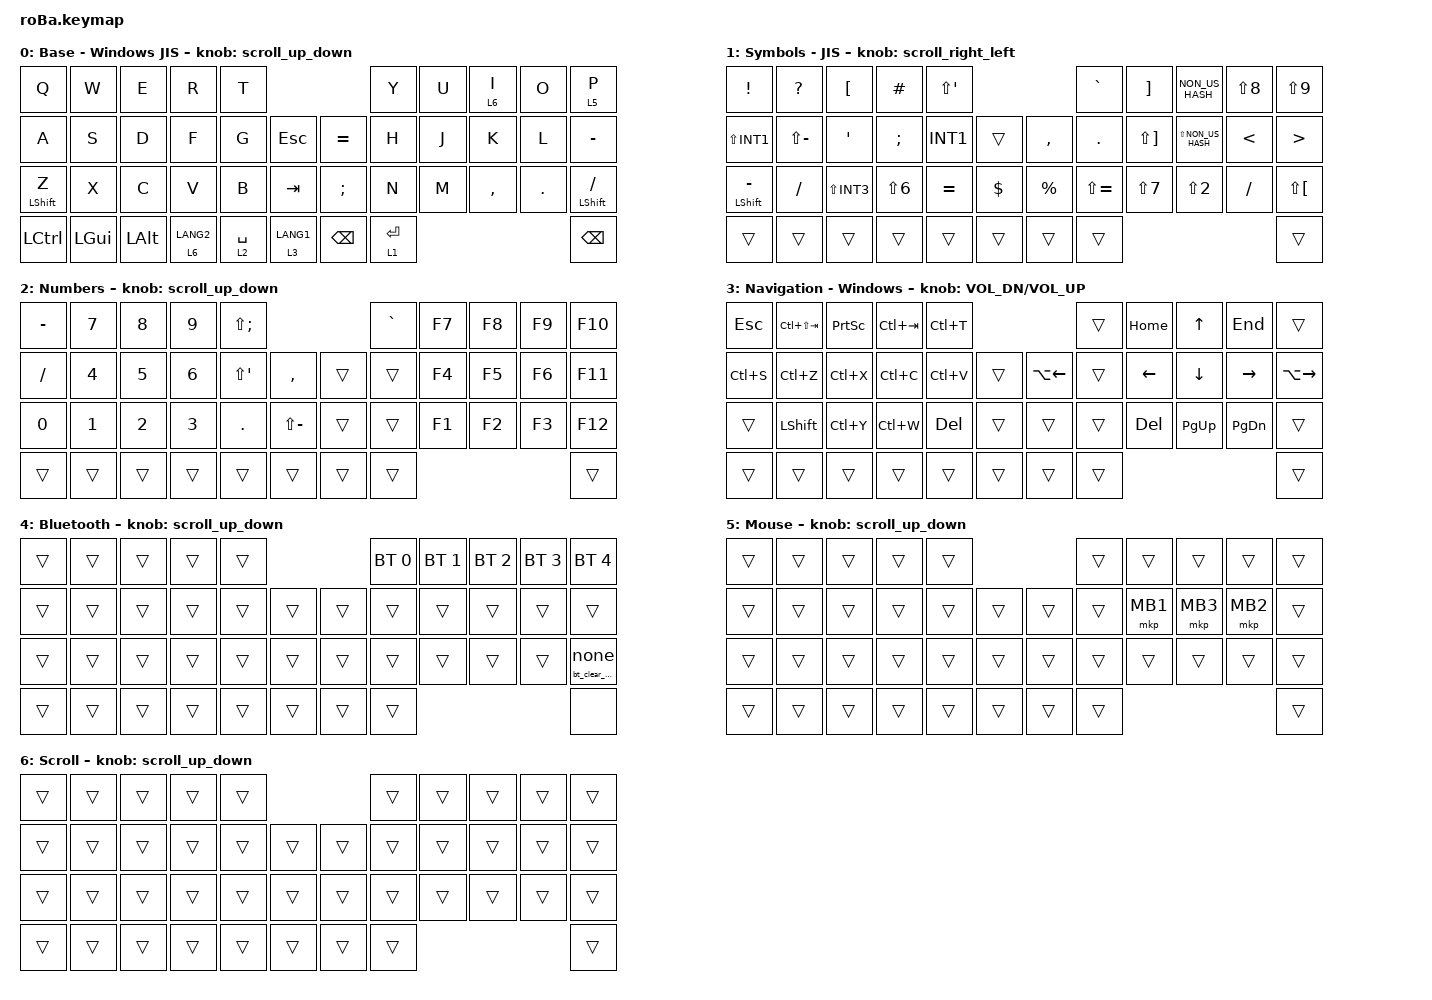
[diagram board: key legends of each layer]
#include <input/processors.dtsi>
#include <dt-bindings/zmk/input_transform.h>
#include <zephyr/dt-bindings/input/input-event-codes.h>
#include <behaviors.dtsi>
#include <dt-bindings/zmk/bt.h>
#include <dt-bindings/zmk/keys.h>
#include <dt-bindings/zmk/pointing.h>

#define ZMK_POINTING_DEFAULT_SCRL_VAL 100
#define MOUSE 5
#define SCROLL 6

// HID positions for a Windows Japanese (106/109) host layout.

#define JIS_AT LEFT_BRACKET
#define JIS_LBKT RIGHT_BRACKET
#define JIS_RBKT NON_US_HASH
#define JIS_LBRC LS(JIS_LBKT)
#define JIS_RBRC LS(JIS_RBKT)
#define JIS_LPAR LS(N8)
#define JIS_RPAR LS(N9)
#define JIS_COLON SQT
#define JIS_ASTERISK LS(JIS_COLON)
#define JIS_PLUS LS(SEMICOLON)
#define JIS_EQUAL LS(MINUS)
#define JIS_AMPERSAND LS(N6)
#define JIS_APOSTROPHE LS(N7)
#define JIS_DQUOTE LS(N2)
#define JIS_CARET EQUAL
#define JIS_GRAVE LS(JIS_AT)
#define JIS_TILDE LS(JIS_CARET)
#define JIS_BACKSLASH INT1
#define JIS_UNDERSCORE LS(JIS_BACKSLASH)
#define JIS_PIPE LS(INT3)

&mt {
    flavor = "balanced";
    quick-tap-ms = <0>;
};

&lt {
    tapping-term-ms = <200>;
    quick-tap-ms = <300>;
    flavor = "balanced";
};

&trackball {
    scroll-layers = <6>;

    // arrows {
    //     layers = <3>;
    //     bindings =
    //         <&kp RIGHT_ARROW>,
    //         <&kp LEFT_ARROW>,
    //         <&kp UP_ARROW>,
    //         <&kp DOWN_ARROW>;
    //     tick = <10>;
    //     wait-ms = <5>;
    //     tap-ms = <5>;
    // };
};

&zip_temp_layer {
    excluded-positions = <
        18 // J
        19 // K
        20 // L
        34 // Ctrl-click
        35 // GUI modifier
        36 // Alt modifier
    >;
};

/ {
    combos {
        compatible = "zmk,combos";

        tab {
            bindings = <&kp TAB>;
            key-positions = <11 12>;
            layers = <0>;
        };

        layer4_ESC {
            bindings = <&lt 4 ESC>;
            key-positions = <40 39>;
        };
    };

    macros {
        to_layer_0: to_layer_0 {
            compatible = "zmk,behavior-macro-one-param";
            #binding-cells = <1>;
            bindings = <&to 0 &macro_param_1to1 &kp MACRO_PLACEHOLDER>;
            label = "TO_LAYER_0";
        };

        bt_clear_current: bt_clear_current {
            compatible = "zmk,behavior-macro";
            #binding-cells = <0>;
            bindings = <&bt BT_CLR>;
            label = "BT_CLEAR_CURRENT";
        };
    };

    behaviors {
        scroll_lt: scroll_layer_tap {
            compatible = "zmk,behavior-hold-tap";
            #binding-cells = <2>;
            bindings = <&mo>, <&kp>;

            tapping-term-ms = <200>;
            quick-tap-ms = <0>;
            flavor = "tap-preferred";
            label = "SCROLL_LAYER_TAP";
        };

        bt_clear_hold: bt_clear_hold {
            compatible = "zmk,behavior-hold-tap";
            #binding-cells = <2>;
            bindings = <&bt_clear_current>, <&none>;

            tapping-term-ms = <1000>;
            quick-tap-ms = <0>;
            flavor = "tap-preferred";
            label = "BT_CLEAR_HOLD";
        };

        lt_to_layer_0: lt_to_layer_0 {
            compatible = "zmk,behavior-hold-tap";
            label = "LAYER_TAP_TO_0";
            bindings = <&mo>, <&to_layer_0>;

            #binding-cells = <2>;
            tapping-term-ms = <200>;
        };

        scroll_up_down: mouse_wheel_up_down {
            compatible = "zmk,behavior-sensor-rotate";
            #sensor-binding-cells = <0>;
            bindings = <&msc SCRL_DOWN>, <&msc SCRL_UP>;

            tap-ms = <20>;
        };

        scroll_right_left: mouse_wheel_right_left {
            compatible = "zmk,behavior-sensor-rotate";
            #sensor-binding-cells = <0>;
            bindings = <&msc SCRL_LEFT>, <&msc SCRL_RIGHT>;

            tap-ms = <20>;
        };
    };

    keymap {
        compatible = "zmk,keymap";

        default_layer {
            display-name = "Base - Windows JIS";
            bindings = <
&kp Q             &kp W         &kp E         &kp R        &kp T                                        &kp Y        &kp U  &scroll_lt 6 I  &kp O    &lt 5 P
&kp A             &kp S         &kp D         &kp F        &kp G        &kp ESC          &kp EQUAL      &kp H        &kp J  &kp K           &kp L    &kp MINUS
&mt LEFT_SHIFT Z  &kp X         &kp C         &kp V        &kp B        &kp TAB          &kp SEMICOLON  &kp N        &kp M  &kp COMMA       &kp DOT  &mt LEFT_SHIFT SLASH
&kp LCTRL         &kp LEFT_GUI  &kp LEFT_ALT  &lt 6 LANG2  &lt 2 SPACE  &lt 3 LANG1      &kp BACKSPACE  &lt 1 ENTER                                  &kp BACKSPACE
            >;

            sensor-bindings = <&scroll_up_down>;
        };

        layer_1 {
            display-name = "Symbols - JIS";
            bindings = <
&kp EXCLAMATION       &kp QUESTION   &kp JIS_AT     &kp HASH       &kp LS(SQT)                                     &kp GRAVE      &kp JIS_LBKT           &kp JIS_RBKT         &kp LS(N8)     &kp LS(N9)
&kp LS(INT1)          &kp LS(MINUS)  &kp JIS_COLON  &kp SEMICOLON  &kp JIS_BACKSLASH  &trans          &kp COMMA    &kp DOT        &kp LS(RIGHT_BRACKET)  &kp LS(NON_US_HASH)  &kp LESS_THAN  &kp GREATER_THAN
&mt LEFT_SHIFT MINUS  &kp SLASH      &kp LS(INT3)   &kp LS(N6)     &kp JIS_CARET      &kp DOLLAR      &kp PERCENT  &kp LS(EQUAL)  &kp LS(N7)             &kp LS(N2)           &kp SLASH      &kp LS(LEFT_BRACKET)
&trans                &trans         &trans         &trans         &trans             &trans          &trans       &trans                                                                    &trans
            >;

            sensor-bindings = <&scroll_right_left>;
        };

        layer_2 {
            display-name = "Numbers";
            bindings = <
&kp MINUS     &kp NUMBER_7  &kp NUMBER_8  &kp NUMBER_9  &kp LS(SEMICOLON)                             &kp GRAVE  &kp F7  &kp F8  &kp F9  &kp F10
&kp SLASH     &kp NUMBER_4  &kp NUMBER_5  &kp NUMBER_6  &kp LS(SQT)        &kp COMMA          &trans  &trans     &kp F4  &kp F5  &kp F6  &kp F11
&kp NUMBER_0  &kp NUMBER_1  &kp NUMBER_2  &kp NUMBER_3  &kp PERIOD         &kp LS(MINUS)      &trans  &trans     &kp F1  &kp F2  &kp F3  &kp F12
&trans        &trans        &trans        &trans        &trans             &trans             &trans  &trans                             &trans
            >;

            sensor-bindings = <&scroll_up_down>;
        };

        layer_3 {
            display-name = "Navigation - Windows";
            bindings = <
&kp ESC    &kp LC(LS(TAB))  &kp PRINTSCREEN  &kp LC(TAB)  &kp LC(T)                                   &trans  &kp HOME        &kp UP_ARROW    &kp END          &trans
&kp LC(S)  &kp LC(Z)        &kp LC(X)        &kp LC(C)    &kp LC(V)   &trans      &kp LA(LEFT_ARROW)  &trans  &kp LEFT_ARROW  &kp DOWN_ARROW  &kp RIGHT_ARROW  &kp LA(RIGHT_ARROW)
&trans     &kp LEFT_SHIFT   &kp LC(Y)        &kp LC(W)    &kp DELETE  &trans      &trans              &trans  &kp DELETE      &kp PAGE_UP     &kp PAGE_DOWN    &trans
&trans     &trans           &trans           &trans       &trans      &trans      &trans              &trans                                                   &trans
            >;

            sensor-bindings = <&inc_dec_kp C_VOL_DN C_VOL_UP>;
        };

        layer_4 {
            display-name = "Bluetooth";
            bindings = <
&trans  &trans  &trans  &trans  &trans                      &bt BT_SEL 0  &bt BT_SEL 1  &bt BT_SEL 2  &bt BT_SEL 3  &bt BT_SEL 4
&trans  &trans  &trans  &trans  &trans  &trans      &trans  &trans        &trans        &trans        &trans        &trans
&trans  &trans  &trans  &trans  &trans  &trans      &trans  &trans        &trans        &trans        &trans        &bt_clear_hold 0 0
&trans  &trans  &trans  &trans  &trans  &trans      &trans  &trans                                                  &none
            >;

            sensor-bindings = <&scroll_up_down>;
        };

        MOUSE {
            display-name = "Mouse";
            bindings = <
&trans  &trans  &trans  &trans  &trans                      &trans  &trans    &trans    &trans    &trans
&trans  &trans  &trans  &trans  &trans  &trans      &trans  &trans  &mkp MB1  &mkp MB3  &mkp MB2  &trans
&trans  &trans  &trans  &trans  &trans  &trans      &trans  &trans  &trans    &trans    &trans    &trans
&trans  &trans  &trans  &trans  &trans  &trans      &trans  &trans                                &trans
            >;

            sensor-bindings = <&scroll_up_down>;
        };

        SCROLL {
            display-name = "Scroll";
            bindings = <
&trans  &trans  &trans  &trans  &trans                      &trans  &trans  &trans  &trans  &trans
&trans  &trans  &trans  &trans  &trans  &trans      &trans  &trans  &trans  &trans  &trans  &trans
&trans  &trans  &trans  &trans  &trans  &trans      &trans  &trans  &trans  &trans  &trans  &trans
&trans  &trans  &trans  &trans  &trans  &trans      &trans  &trans                          &trans
            >;

            sensor-bindings = <&scroll_up_down>;
        };
    };
};
